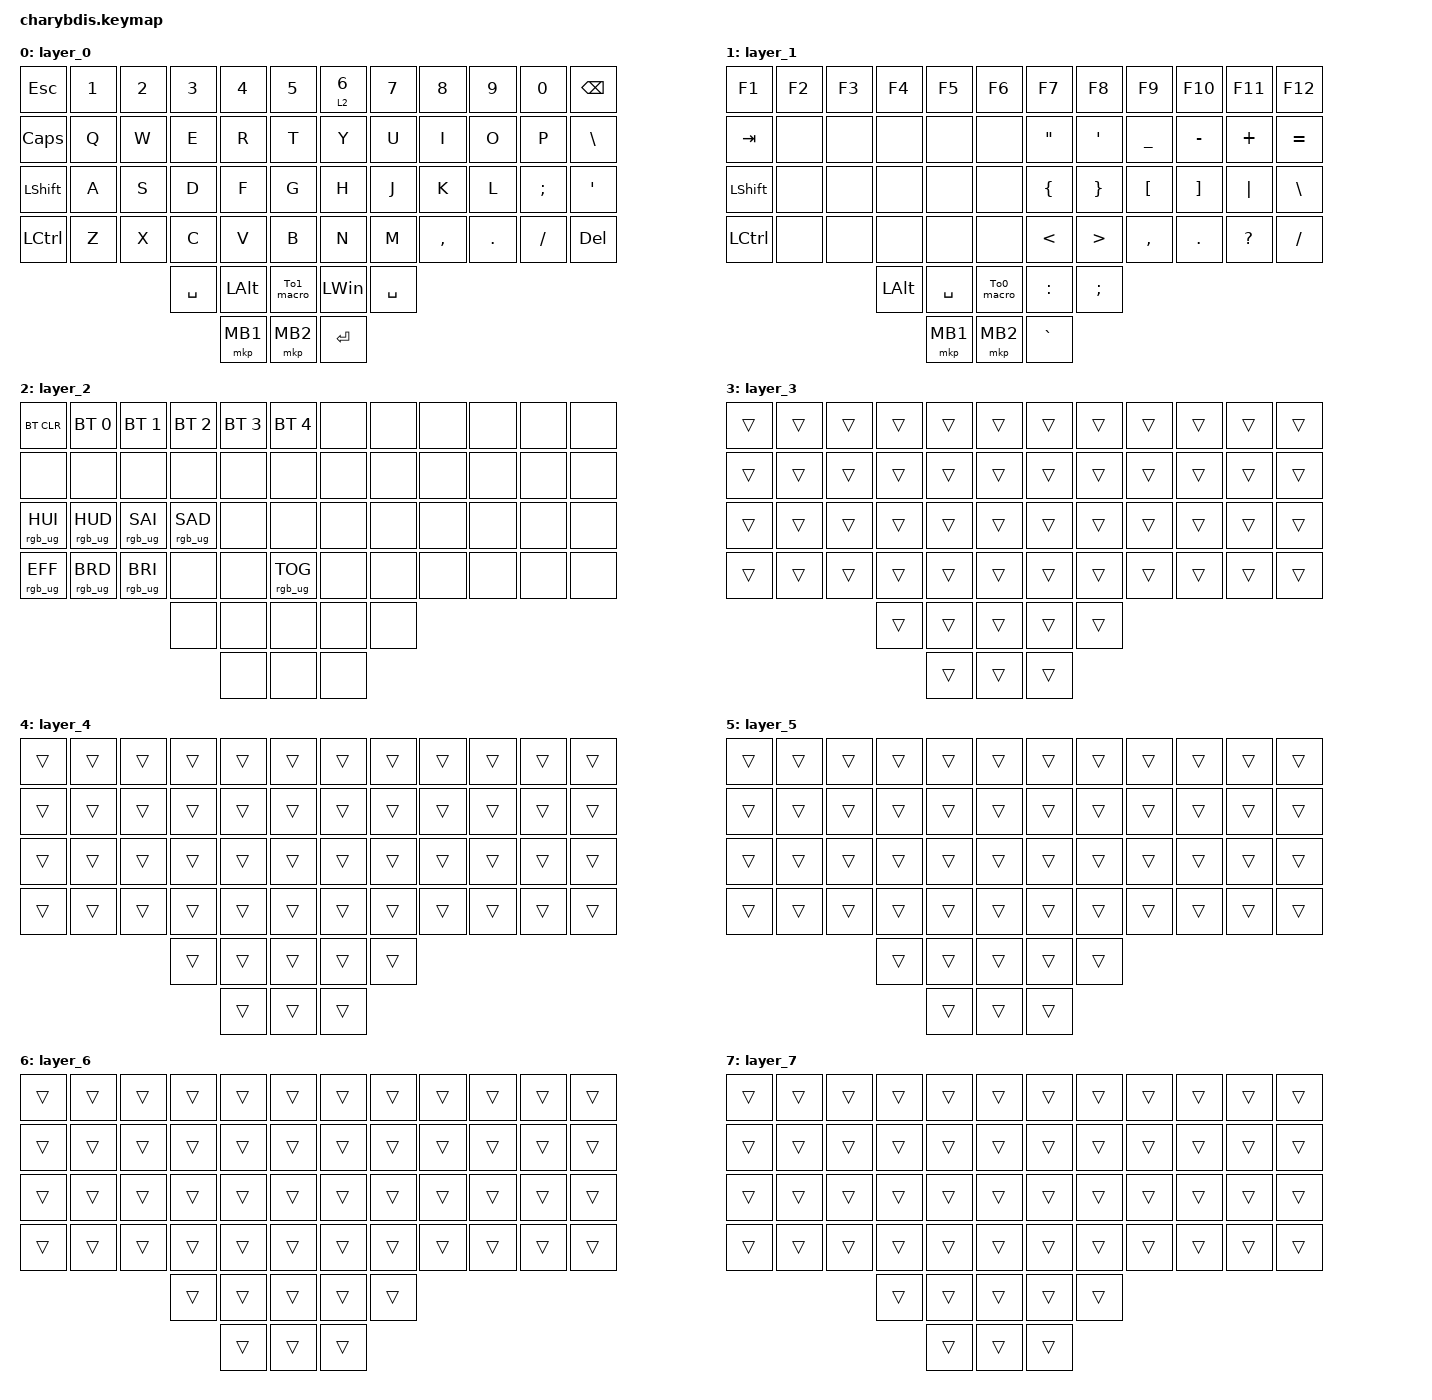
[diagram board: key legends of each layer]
#include <behaviors.dtsi>
#include <dt-bindings/zmk/bt.h>
#include <dt-bindings/zmk/keys.h>
#include <dt-bindings/zmk/pointing.h>
#include <dt-bindings/zmk/rgb.h>

&lt {
    tapping-term-ms = <200>;
    flavor = "balanced";
    quick-tap-ms = <150>;
};

/ {
    macros {
        To1_macro: To1_macro {
            compatible = "zmk,behavior-macro";
            label = "To1_macro";
            #binding-cells = <0>;
            bindings = <&rgb_ug RGB_EFF &rgb_ug RGB_COLOR_HSB(128,100,50) &to 1>;
        };

        To1_macro_A: To1_macro_A {
            compatible = "zmk,behavior-macro";
            label = "To1_macro_A";
            #binding-cells = <0>;
            bindings = <&rgb_ug RGB_COLOR_HSB(128,100,50) &to 1>;
        };

        To0_macro: To0_macro {
            compatible = "zmk,behavior-macro";
            label = "To0_macro";
            #binding-cells = <0>;
            bindings = <&rgb_ug RGB_EFR &to 0>;
        };

        To2_macro_A: To2_macro_A {
            compatible = "zmk,behavior-macro";
            label = "To2_macro_A";
            #binding-cells = <0>;
            bindings = <&rgb_ug RGB_COLOR_HSB(250,100,50) &to 2>;
        };

        To2_macro: To2_macro {
            compatible = "zmk,behavior-macro";
            label = "To2_macro";
            #binding-cells = <0>;
            bindings = <&rgb_ug RGB_EFF &rgb_ug RGB_COLOR_HSB(250,100,50) &to 2>;
        };
    };

    combos {
        compatible = "zmk,combos";

        lh_lclick {
            bindings = <&mkp MB1>;
            key-positions = <40 39>;
        };
    };

    keymap {
        compatible = "zmk,keymap";

        layer_0 {
            bindings = <
&kp ESC         &kp N1  &kp N2  &kp N3     &kp N4        &kp N5        &lt 2 NUMBER_6  &kp N7     &kp N8     &kp N9   &kp N0    &kp BACKSPACE
&kp CAPS        &kp Q   &kp W   &kp E      &kp R         &kp T         &kp Y           &kp U      &kp I      &kp O    &kp P     &kp BSLH
&kp LEFT_SHIFT  &kp A   &kp S   &kp D      &kp F         &kp G         &kp H           &kp J      &kp K      &kp L    &kp SEMI  &kp APOS
&kp LCTRL       &kp Z   &kp X   &kp C      &kp V         &kp B         &kp N           &kp M      &kp COMMA  &kp DOT  &kp FSLH  &kp DEL
                                &kp SPACE  &kp LEFT_ALT  &To1_macro    &kp LWIN        &kp SPACE
                                           &mkp MB1      &mkp MB2      &kp ENTER
            >;
        };

        layer_1 {
            bindings = <
&kp F1          &kp F2  &kp F3  &kp F4        &kp F5     &kp F6        &kp F7             &kp F8            &kp F9          &kp F10     &kp F11       &kp F12
&kp TAB         &none   &none   &none         &none      &none         &kp DOUBLE_QUOTES  &kp SQT           &kp UNDERSCORE  &kp MINUS   &kp PLUS      &kp EQUAL
&kp LEFT_SHIFT  &none   &none   &none         &none      &none         &kp LEFT_BRACE     &kp RIGHT_BRACE   &kp LBKT        &kp RBKT    &kp PIPE      &kp BSLH
&kp LCTRL       &none   &none   &none         &none      &none         &kp LESS_THAN      &kp GREATER_THAN  &kp COMMA       &kp PERIOD  &kp QUESTION  &kp SLASH
                                &kp LEFT_ALT  &kp SPACE  &To0_macro    &kp COLON          &kp SEMICOLON
                                              &mkp MB1   &mkp MB2      &kp GRAVE
            >;
        };

        layer_2 {
            bindings = <
&bt BT_CLR       &bt BT_SEL 0     &bt BT_SEL 1     &bt BT_SEL 2     &bt BT_SEL 3  &bt BT_SEL 4       &none  &none  &none  &none  &none  &none
&none            &none            &none            &none            &none         &none              &none  &none  &none  &none  &none  &none
&rgb_ug RGB_HUI  &rgb_ug RGB_HUD  &rgb_ug RGB_SAI  &rgb_ug RGB_SAD  &none         &none              &none  &none  &none  &none  &none  &none
&rgb_ug RGB_EFF  &rgb_ug RGB_BRD  &rgb_ug RGB_BRI  &none            &none         &rgb_ug RGB_TOG    &none  &none  &none  &none  &none  &none
                                                   &none            &none         &none              &none  &none
                                                                    &none         &none              &none
            >;
        };

        layer_3 {
            bindings = <
&trans  &trans  &trans  &trans  &trans  &trans    &trans  &trans  &trans  &trans  &trans  &trans
&trans  &trans  &trans  &trans  &trans  &trans    &trans  &trans  &trans  &trans  &trans  &trans
&trans  &trans  &trans  &trans  &trans  &trans    &trans  &trans  &trans  &trans  &trans  &trans
&trans  &trans  &trans  &trans  &trans  &trans    &trans  &trans  &trans  &trans  &trans  &trans
                        &trans  &trans  &trans    &trans  &trans
                                &trans  &trans    &trans
            >;
        };

        layer_4 {
            bindings = <
&trans  &trans  &trans  &trans  &trans  &trans    &trans  &trans  &trans  &trans  &trans  &trans
&trans  &trans  &trans  &trans  &trans  &trans    &trans  &trans  &trans  &trans  &trans  &trans
&trans  &trans  &trans  &trans  &trans  &trans    &trans  &trans  &trans  &trans  &trans  &trans
&trans  &trans  &trans  &trans  &trans  &trans    &trans  &trans  &trans  &trans  &trans  &trans
                        &trans  &trans  &trans    &trans  &trans
                                &trans  &trans    &trans
            >;
        };

        layer_5 {
            bindings = <
&trans  &trans  &trans  &trans  &trans  &trans    &trans  &trans  &trans  &trans  &trans  &trans
&trans  &trans  &trans  &trans  &trans  &trans    &trans  &trans  &trans  &trans  &trans  &trans
&trans  &trans  &trans  &trans  &trans  &trans    &trans  &trans  &trans  &trans  &trans  &trans
&trans  &trans  &trans  &trans  &trans  &trans    &trans  &trans  &trans  &trans  &trans  &trans
                        &trans  &trans  &trans    &trans  &trans
                                &trans  &trans    &trans
            >;
        };

        layer_6 {
            bindings = <
&trans  &trans  &trans  &trans  &trans  &trans    &trans  &trans  &trans  &trans  &trans  &trans
&trans  &trans  &trans  &trans  &trans  &trans    &trans  &trans  &trans  &trans  &trans  &trans
&trans  &trans  &trans  &trans  &trans  &trans    &trans  &trans  &trans  &trans  &trans  &trans
&trans  &trans  &trans  &trans  &trans  &trans    &trans  &trans  &trans  &trans  &trans  &trans
                        &trans  &trans  &trans    &trans  &trans
                                &trans  &trans    &trans
            >;
        };

        layer_7 {
            bindings = <
&trans  &trans  &trans  &trans  &trans  &trans    &trans  &trans  &trans  &trans  &trans  &trans
&trans  &trans  &trans  &trans  &trans  &trans    &trans  &trans  &trans  &trans  &trans  &trans
&trans  &trans  &trans  &trans  &trans  &trans    &trans  &trans  &trans  &trans  &trans  &trans
&trans  &trans  &trans  &trans  &trans  &trans    &trans  &trans  &trans  &trans  &trans  &trans
                        &trans  &trans  &trans    &trans  &trans
                                &trans  &trans    &trans
            >;
        };

        /* layer_3 {
            bindings = <
&none  &none   &none    &none   &none         &none         &kp N1         &none         &none     &none  &none   &to 0
&none  &none   &none    &none   &none         &none         &none         &none          &rgb_ug RGB_BRD &rgb_ug RGB_BRI  &rgb_ug RGB_EFF   &rgb_ug RGB_TOG
&none  &none   &none    &none   &none         &none         &none         &mkp LCLK     &mkp RCLK  &none  &none   &none
&none  &none   &none    &none   &bt BT_NXT  &bt BT_CLR    &none         &none         &none     &none  &none   &none
                                   &none         &none         &none         &none         &none
                                                 &none         &none         &none
            >;
       
            
        };

       Mouse {
            bindings = <
&none        &none         &none         &none         &none      &none         &none       &none      &none         &none         &none         &none
&none        &bt BT_SEL 0  &bt BT_SEL 1  &bt BT_SEL 3  &none      &bt BT_CLR    &bt BT_CLR  &none      &bt BT_SEL 2  &bt BT_SEL 1  &bt BT_SEL 0  &none
&none        &trans        &trans        &mkp MCLK     &trans     &none         &none       &trans     &mkp MCLK     &trans        &trans        &none
&bootloader  &trans        &mkp RCLK     &mo 4         &mkp LCLK  &mo 5         &mo 5       &mkp LCLK  &mo 4         &mkp RCLK     &trans        &bootloader
                                         &mo 5         &mkp LCLK  &mkp RCLK     &mkp RCLK   &mkp LCLK
                                                       &none      &trans        &trans
            >;

            
        };

        layer_4 {
            bindings = <
&trans  &trans  &trans     &trans     &trans     &trans       &trans     &trans     &trans     &trans     &trans  &trans
&trans  &trans  &trans     &trans     &trans     &trans       &trans     &trans     &trans     &trans     &trans  &trans
&trans  &trans  &trans     &mkp MCLK  &trans     &trans       &trans     &trans     &mkp MCLK  &trans     &trans  &trans
&trans  &trans  &mkp RCLK  &trans     &mkp LCLK  &trans       &trans     &mkp LCLK  &trans     &mkp RCLK  &trans  &trans
                           &trans     &mkp LCLK  &mkp RCLK    &mkp RCLK  &mkp LCLK
                                      &trans     &trans       &trans
            >;
                
                
               
        };

        layer_5 {
            bindings = <
&trans  &trans  &trans     &trans     &trans     &trans       &trans     &trans     &trans     &trans     &trans  &trans
&trans  &trans  &trans     &trans     &trans     &trans       &trans     &trans     &trans     &trans     &trans  &trans
&trans  &trans  &trans     &mkp MCLK  &trans     &trans       &trans     &trans     &mkp MCLK  &trans     &trans  &trans
&trans  &trans  &mkp RCLK  &trans     &mkp LCLK  &trans       &trans     &mkp LCLK  &trans     &mkp RCLK  &trans  &trans
                           &trans     &mkp LCLK  &mkp RCLK    &mkp RCLK  &mkp LCLK
                                      &trans     &trans       &trans
            >;
                
                
        };*/
    };
};
